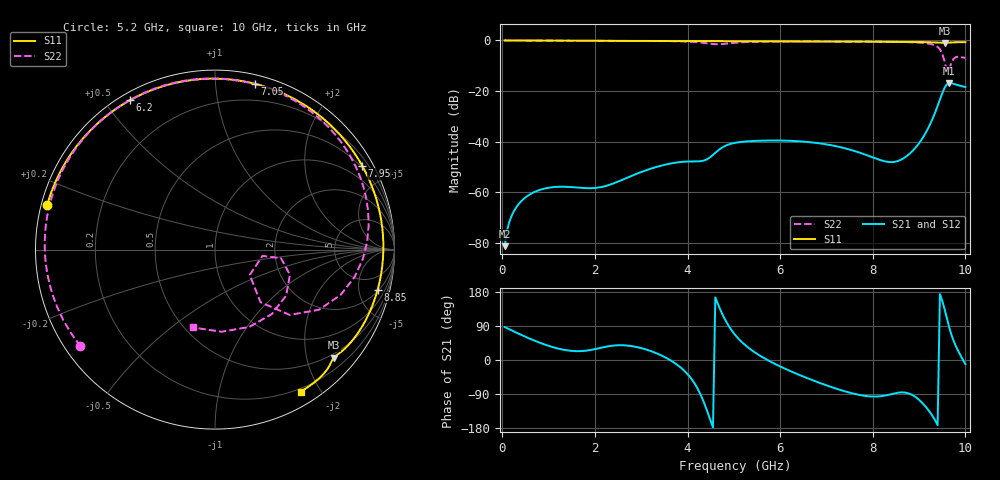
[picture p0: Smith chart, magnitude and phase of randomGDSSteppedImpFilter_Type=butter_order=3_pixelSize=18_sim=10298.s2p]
! freq	dB(S11)	phase(S11)	dB(S12)	phase(S12)
!  dB(S21)	phase(S21)	dB(S22)	phase(S22)
!S-par simulation data
#  GHz  S  DB  R 50
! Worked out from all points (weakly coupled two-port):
!   200 points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, 50 MHz to 10 GHz, reference 50 ohm
!   highest |S21| = -16.78 dB at 9.65 GHz (marker M1); lowest = -81.2 dB at 50 MHz (marker M2)
!   lowest |S11| = -1.0 dB at 9.55 GHz (marker M3), VSWR 18.01, Z = 20.9 - j126 ohm
!   |S11| at or under -10 dB: nowhere
!   |S22| runs from -12.4 to 0.0 dB; largest |S21 - S12| = 0
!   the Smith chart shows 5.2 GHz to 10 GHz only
!   S11 on the Smith chart (normalised r, x): 5.2 GHz: 0.02, +0.13; 6.2 GHz: 0.03, +0.58; 7.05 GHz: 0.07, +1.26; 7.95 GHz: 0.43, +3.73; 8.85 GHz: 2.20, -7.62; 10 GHz: 0.16, -1.76
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0.05  -0.00 -1.9  -81.19 87.1  -81.19 87.1  -0.00 -4.1
0.2  -0.01 -7.7  -69.28 78.2  -69.28 78.2  -0.02 -16.2
0.55  -0.03 -20.9  -61.29 58.6  -61.29 58.6  -0.06 -43.4
1.75  -0.08 -65.6  -58.23 23.9  -58.23 23.9  -0.12 -119.2
3.4  -0.16 -125.3  -49.56 14.0  -49.56 14.0  -0.22 161.4
3.85  -0.19 -141.8  -47.98 -19.6  -47.98 -19.6  -0.35 130.8
4.2  -0.21 -154.9  -47.74 -71.7  -47.74 -71.7  -0.67 90.3
4.55  -0.24 -168.4  -45.17 -178.1  -45.17 -178.1  -1.41 8.0
4.8  -0.26 -178.4  -41.74 109.1  -41.74 109.1  -1.35 -70.0
5.05  -0.28 171.4  -40.32 63.0  -40.32 63.0  -0.88 -123.6
5.2  -0.29 165.1  -39.97 44.1  -39.97 44.1  -0.70 -144.3
6.2  -0.38 119.7  -39.59 -28.2  -39.59 -28.2  -0.37 149.4
6.7  -0.42 94.7  -40.26 -53.3  -40.26 -53.3  -0.36 129.2
7.05  -0.44 76.6  -41.18 -69.0  -41.18 -69.0  -0.37 116.0
7.95  -0.50 29.7  -45.82 -96.2  -45.82 -96.2  -0.44 81.7
8.35  -0.53 9.7  -47.98 -91.6  -47.98 -91.6  -0.51 64.4
8.85  -0.60 -13.8  -43.76 -92.2  -43.76 -92.2  -0.73 37.4
9.3  -0.74 -33.4  -30.53 -149.6  -30.53 -149.6  -1.66 -3.5
9.55  -0.97 -42.2  -18.72 134.5  -18.72 134.5  -8.24 -49.1
9.65  -0.85 -45.1  -16.78 86.5  -16.78 86.5  -11.46 -7.5
9.8  -0.70 -51.1  -17.44 35.0  -17.44 35.0  -6.52 -32.8
10  -0.68 -58.9  -18.39 -10.7  -18.39 -10.7  -6.92 -106.1
